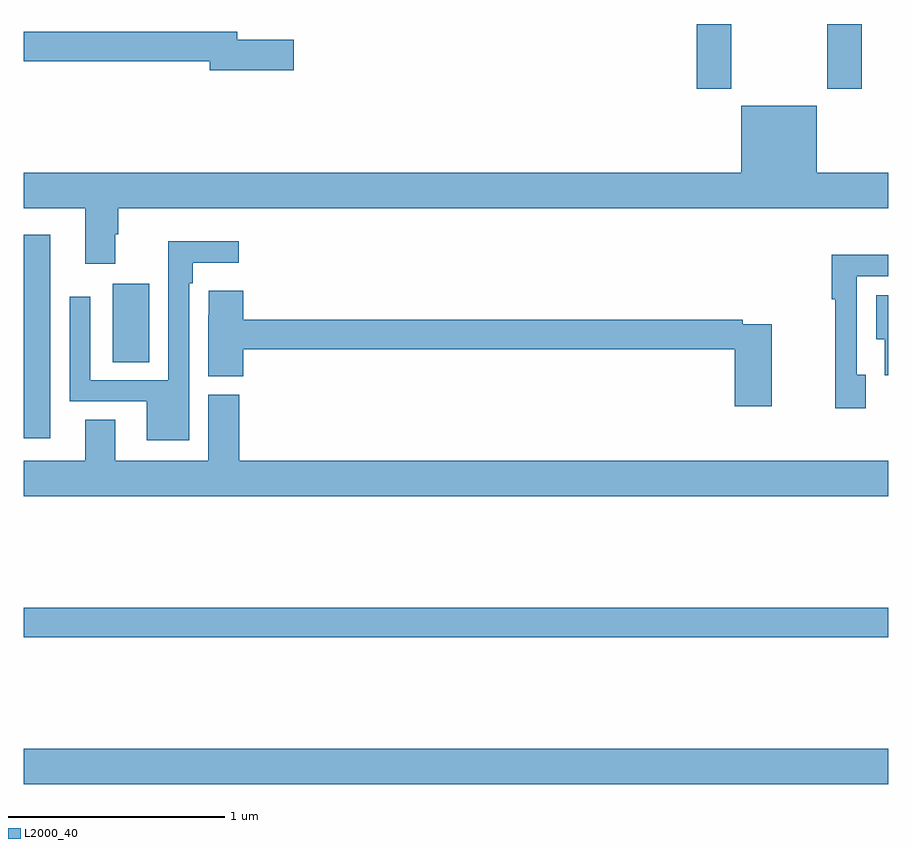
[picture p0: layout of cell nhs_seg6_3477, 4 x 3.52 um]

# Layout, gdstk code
import gdstk
lib = gdstk.Library(unit=1e-6, precision=1e-09)
def R(c, l, rs):  # rectangles x0, y0, x1, y1
    for r in rs: c.add(gdstk.rectangle(r[:2], r[2:], *l))
def P(c, l, *ps):  # polygons
    for p in ps: c.add(gdstk.Polygon(p, *l))
L2000_40 = (2000, 40)

nhs_seg6_3477 = lib.new_cell('nhs_seg6_3477')
R(nhs_seg6_3477, L2000_40, [(315,965.984,319,966.148), (315,966.664,319,966.8), (315,967.584,315.124,968.524), (315.413,967.936,315.58,968.299), (318.113,969.201,318.273,969.5), (318.718,969.201,318.878,969.5)])
P(nhs_seg6_3477, L2000_40, [(316.249,969.428),(315.988,969.428),(315.988,969.464),(315,969.464),(315,969.328),(315.86,969.328),(315.86,969.286),(316.249,969.286)],
  [(315.424,968.528),(315.437,968.528),(315.437,968.648),(319,968.648),(319,968.812),(318.67,968.812),(318.67,969.121),(318.32,969.121),(318.32,968.812),(315,968.812),(315,968.648),(315.284,968.648),(315.284,968.391),(315.424,968.391)],
  [(315.765,968.3),(315.781,968.3),(315.781,968.396),(315.994,968.396),(315.994,968.494),(315.669,968.494),(315.669,967.851),(315.309,967.851),(315.309,968.239),(315.213,968.239),(315.213,967.755),(315.569,967.755),(315.569,967.574),(315.765,967.574)],
  [(318.895,967.878),(318.855,967.878),(318.855,968.334),(319,968.334),(319,968.432),(318.739,968.432),(318.739,968.227),(318.754,968.227),(318.754,967.722),(318.895,967.722)],
  [(318.46,968.112),(318.326,968.112),(318.326,968.132),(316.016,968.132),(316.016,968.266),(315.855,968.266),(315.855,968.153),(315.854,968.153),(315.854,967.87),(316.016,967.87),(316.016,967.996),(318.29,967.996),(318.29,967.731),(318.46,967.731)],
  [(319,968.245),(318.944,968.245),(318.944,968.042),(318.983,968.042),(318.983,967.874),(319,967.874)],
  [(319,967.48),(315.998,967.48),(315.998,967.785),(315.854,967.785),(315.854,967.48),(315.424,967.48),(315.424,967.67),(315.284,967.67),(315.284,967.48),(315,967.48),(315,967.316),(319,967.316)])

lib.write_gds('nhs_seg6_3477.gds')
